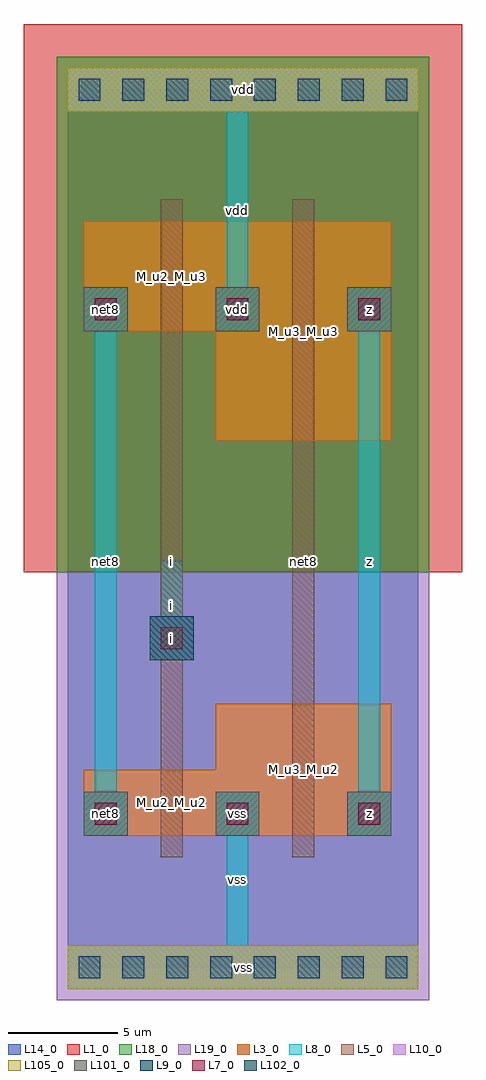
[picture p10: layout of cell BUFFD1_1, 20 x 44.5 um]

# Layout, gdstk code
import gdstk
lib = gdstk.Library(unit=1e-6, precision=2.5e-07)
def R(c, l, rs):  # rectangles x0, y0, x1, y1
    for r in rs: c.add(gdstk.rectangle(r[:2], r[2:], *l))
def A(c, l, x, y, w, h, nx, ny, dx, dy):  # array of equal rectangles
    R(c, l, [(x+i*dx, y+j*dy, x+i*dx+w, y+j*dy+h) for i in range(nx) for j in range(ny)])
L1_0 = (1, 0)
L3_0 = (3, 0)
L5_0 = (5, 0)
L7_0 = (7, 0)
L8_0 = (8, 0)
L9_0 = (9, 0)
L10_0 = (10, 0)
L13_0 = (13, 0)
L14_0 = (14, 0)
L18_0 = (18, 0)
L19_0 = (19, 0)
L101_0 = (101, 0)
L102_0 = (102, 0)
L105_0 = (105, 0)

buffd1_1 = lib.new_cell('BUFFD1_1')
R(buffd1_1, L1_0, [(-2,18,18,43)])
A(buffd1_1, L3_0, 0.75, 6, 2, 2, 3, 2, 6, 23)
R(buffd1_1, L3_0, [(0.75,6,8.75,9), (6.75,6,14.75,12), (6.75,24,14.75,34), (0.75,29,8.75,34)])
R(buffd1_1, L5_0, [(4.25,5,5.25,10), (10.25,5,11.25,13), (4.25,6.5,5.25,30.5), (10.25,6.5,11.25,30.5), (3.75,14,5.75,16), (10.25,23,11.25,35), (4.25,28,5.25,35)])
A(buffd1_1, L7_0, 1.25, 6.5, 1, 1, 3, 2, 6, 23)
R(buffd1_1, L7_0, [(4.25,14.5,5.25,15.5)])
A(buffd1_1, L8_0, 0.75, 6, 2, 2, 3, 2, 6, 23)
R(buffd1_1, L8_0, [(0,-1,16,1), (7.25,0.5,8.25,7.5), (1.25,6.5,2.25,30.5), (13.25,6.5,14.25,30.5), (3.75,14,5.75,16), (4.25,14.5,5.25,18.5), (7.25,29.5,8.25,39.5), (0,39,16,41)])
A(buffd1_1, L9_0, 0.5, -0.5, 1, 1, 8, 2, 2, 40)
R(buffd1_1, L10_0, [(0,-1,16,1), (0,39,16,41)])
R(buffd1_1, L14_0, [(0,0,16,40)])
R(buffd1_1, L18_0, [(-0.5,18,16.5,38.5), (-0.5,38.5,16.5,41.5)])
R(buffd1_1, L19_0, [(-0.5,-1.5,16.5,1.5), (-0.5,1.5,16.5,18)])
A(buffd1_1, L101_0, 0.75, 6, 2, 2, 3, 2, 6, 23)
R(buffd1_1, L102_0, [(3.75,14,5.75,16)])
A(buffd1_1, L105_0, 0, -1, 2, 2, 8, 2, 2, 40)
buffd1_1.add(gdstk.FlexPath([(0.75,3),(14.75,3)], 0, ends="flush", simple_path=True, layer=13, datatype=0))  # L13_0
buffd1_1.add(gdstk.FlexPath([(0.75,7),(14.75,7)], 0, ends="flush", simple_path=True, layer=13, datatype=0))  # L13_0
buffd1_1.add(gdstk.FlexPath([(0.75,11),(14.75,11)], 0, ends="flush", simple_path=True, layer=13, datatype=0))  # L13_0
buffd1_1.add(gdstk.FlexPath([(0.75,15),(14.75,15)], 0, ends="flush", simple_path=True, layer=13, datatype=0))  # L13_0
buffd1_1.add(gdstk.FlexPath([(0.75,18),(14.75,18)], 0, ends="flush", simple_path=True, layer=13, datatype=0))  # L13_0
buffd1_1.add(gdstk.FlexPath([(0.75,21),(14.75,21)], 0, ends="flush", simple_path=True, layer=13, datatype=0))  # L13_0
buffd1_1.add(gdstk.FlexPath([(0.75,25),(14.75,25)], 0, ends="flush", simple_path=True, layer=13, datatype=0))  # L13_0
buffd1_1.add(gdstk.FlexPath([(0.75,30),(14.75,30)], 0, ends="flush", simple_path=True, layer=13, datatype=0))  # L13_0
buffd1_1.add(gdstk.FlexPath([(0.75,33),(14.75,33)], 0, ends="flush", simple_path=True, layer=13, datatype=0))  # L13_0
buffd1_1.add(gdstk.FlexPath([(0.75,37),(14.75,37)], 0, ends="flush", simple_path=True, layer=13, datatype=0))  # L13_0
buffd1_1.add(gdstk.FlexPath([(1.75,0.5),(1.75,39.5)], 0, ends="flush", simple_path=True, layer=13, datatype=0))  # L13_0
buffd1_1.add(gdstk.FlexPath([(4.75,0.5),(4.75,39.5)], 0, ends="flush", simple_path=True, layer=13, datatype=0))  # L13_0
buffd1_1.add(gdstk.FlexPath([(7.75,0.5),(7.75,39.5)], 0, ends="flush", simple_path=True, layer=13, datatype=0))  # L13_0
buffd1_1.add(gdstk.FlexPath([(10.75,0.5),(10.75,39.5)], 0, ends="flush", simple_path=True, layer=13, datatype=0))  # L13_0
buffd1_1.add(gdstk.FlexPath([(13.75,0.5),(13.75,39.5)], 0, ends="flush", simple_path=True, layer=13, datatype=0))  # L13_0
buffd1_1.add(gdstk.Label('M_u3_M_u2', (10.75,9), layer=3, texttype=0))
buffd1_1.add(gdstk.Label('M_u2_M_u2', (4.75,7.5), layer=3, texttype=0))
buffd1_1.add(gdstk.Label('M_u3_M_u3', (10.75,29), layer=3, texttype=0))
buffd1_1.add(gdstk.Label('M_u2_M_u3', (4.75,31.5), layer=3, texttype=0))
buffd1_1.add(gdstk.Label('z', (13.75,7), layer=3, texttype=0))
buffd1_1.add(gdstk.Label('z', (13.75,30), layer=3, texttype=0))
buffd1_1.add(gdstk.Label('net8', (1.75,7), layer=3, texttype=0))
buffd1_1.add(gdstk.Label('net8', (1.75,30), layer=3, texttype=0))
buffd1_1.add(gdstk.Label('vss', (7.75,7), layer=3, texttype=0))
buffd1_1.add(gdstk.Label('vdd', (7.75,30), layer=3, texttype=0))
buffd1_1.add(gdstk.Label('z', (13.75,7), layer=101, texttype=0))
buffd1_1.add(gdstk.Label('z', (13.75,30), layer=101, texttype=0))
buffd1_1.add(gdstk.Label('net8', (1.75,7), layer=101, texttype=0))
buffd1_1.add(gdstk.Label('net8', (1.75,30), layer=101, texttype=0))
buffd1_1.add(gdstk.Label('vss', (7.75,7), layer=101, texttype=0))
buffd1_1.add(gdstk.Label('vdd', (7.75,30), layer=101, texttype=0))
buffd1_1.add(gdstk.Label('z', (13.75,7), layer=8, texttype=0))
buffd1_1.add(gdstk.Label('z', (13.75,30), layer=8, texttype=0))
buffd1_1.add(gdstk.Label('z', (13.75,18.5), layer=8, texttype=0))
buffd1_1.add(gdstk.Label('net8', (1.75,7), layer=8, texttype=0))
buffd1_1.add(gdstk.Label('net8', (1.75,30), layer=8, texttype=0))
buffd1_1.add(gdstk.Label('net8', (1.75,18.5), layer=8, texttype=0))
buffd1_1.add(gdstk.Label('i', (4.75,15), layer=8, texttype=0))
buffd1_1.add(gdstk.Label('i', (4.75,16.5), layer=8, texttype=0))
buffd1_1.add(gdstk.Label('vss', (7.75,7), layer=8, texttype=0))
buffd1_1.add(gdstk.Label('vss', (7.75,4), layer=8, texttype=0))
buffd1_1.add(gdstk.Label('vdd', (7.75,30), layer=8, texttype=0))
buffd1_1.add(gdstk.Label('vdd', (7.75,34.5), layer=8, texttype=0))
buffd1_1.add(gdstk.Label('vss', (8,0), layer=8, texttype=0))
buffd1_1.add(gdstk.Label('vdd', (8,40), layer=8, texttype=0))
buffd1_1.add(gdstk.Label('vss', (8,0), layer=10, texttype=0))
buffd1_1.add(gdstk.Label('vdd', (8,40), layer=10, texttype=0))
buffd1_1.add(gdstk.Label('net8', (10.75,18.5), layer=5, texttype=0))
buffd1_1.add(gdstk.Label('i', (4.75,18.5), layer=5, texttype=0))
buffd1_1.add(gdstk.Label('i', (4.75,15), layer=5, texttype=0))
buffd1_1.add(gdstk.Label('i', (4.75,15), layer=102, texttype=0))

lib.write_gds('BUFFD1_1.gds')
